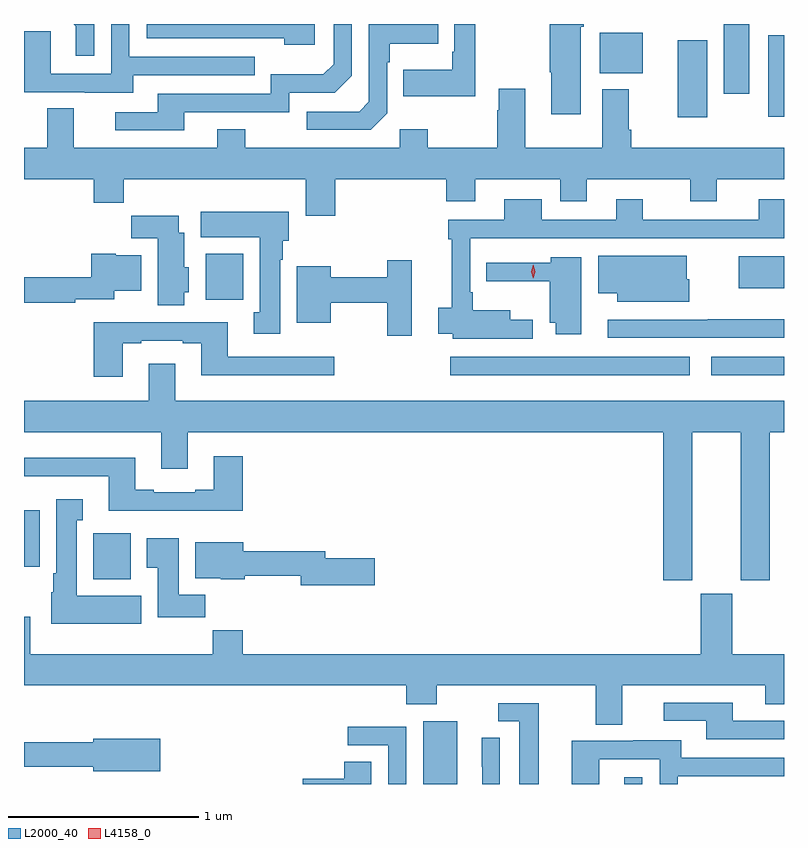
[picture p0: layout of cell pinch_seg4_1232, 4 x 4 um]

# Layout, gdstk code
import gdstk
lib = gdstk.Library(unit=1e-6, precision=1e-09)
def R(c, l, rs):  # rectangles x0, y0, x1, y1
    for r in rs: c.add(gdstk.rectangle(r[:2], r[2:], *l))
def P(c, l, *ps):  # polygons
    for p in ps: c.add(gdstk.Polygon(p, *l))
L2000_40 = (2000, 40)
L4158_0 = (4158, 0)

pinch_seg4_1232 = lib.new_cell('pinch_seg4_1232')
R(pinch_seg4_1232, L2000_40, [(174.647,752.344,174.826,752.674), (175.703,752.344,175.8,752.38), (172.91,753.422,173.107,753.664), (172.545,753.488,172.627,753.784), (174.789,754.496,176.05,754.593), (176.163,754.496,176.545,754.593), (173.501,754.892,173.698,755.134), (176.306,754.952,176.545,755.122), (175.985,755.853,176.14,756.259), (176.462,755.856,176.545,756.286), (176.228,755.976,176.362,756.344), (175.574,756.086,175.801,756.298)])
P(pinch_seg4_1232, L2000_40, [(173.389,755.88),(173.94,755.88),(173.94,755.982),(174.18,755.982),(174.27,756.072),(174.27,756.344),(174.174,756.344),(174.174,756.132),(174.121,756.079),(173.844,756.079),(173.844,755.976),(173.249,755.976),(173.249,755.88),(173.025,755.88),(173.025,755.784),(173.389,755.784)],
  [(175.474,756.33),(175.492,756.33),(175.492,756.344),(175.312,756.344),(175.312,756.091),(175.319,756.091),(175.319,755.868),(175.474,755.868)],
  [(172.914,756.344),(172.806,756.344),(172.817,756.333),(172.817,756.177),(172.914,756.177)],
  [(174.919,756.344),(174.81,756.344),(174.81,756.199),(174.798,756.199),(174.798,756.103),(174.541,756.103),(174.541,755.963),(174.919,755.963)],
  [(174.456,755.874),(174.456,756.143),(174.469,756.143),(174.469,756.239),(174.725,756.239),(174.725,756.344),(174.36,756.344),(174.36,755.934),(174.309,755.883),(174.033,755.883),(174.033,755.787),(174.369,755.787)],
  [(173.119,756.075),(173.759,756.075),(173.759,756.171),(173.1,756.171),(173.1,756.344),(173.004,756.344),(173.004,756.081),(172.686,756.081),(172.686,756.305),(172.545,756.305),(172.545,755.985),(172.865,755.985),(172.865,755.981),(173.119,755.981)],
  [(174.076,756.344),(173.19,756.344),(173.19,756.27),(173.915,756.27),(173.915,756.236),(174.076,756.236)],
  [(174.182,755.528),(174.767,755.528),(174.767,755.411),(174.919,755.411),(174.919,755.528),(175.367,755.528),(175.367,755.411),(175.507,755.411),(175.507,755.528),(176.051,755.528),(176.051,755.411),(176.191,755.411),(176.191,755.528),(176.545,755.528),(176.545,755.692),(175.742,755.692),(175.742,755.788),(175.729,755.788),(175.729,756.001),(175.589,756.001),(175.589,755.692),(175.183,755.692),(175.183,756.004),(175.043,756.004),(175.043,755.891),(175.036,755.891),(175.036,755.692),(174.669,755.692),(174.669,755.791),(174.522,755.791),(174.522,755.692),(173.709,755.692),(173.709,755.791),(173.561,755.791),(173.561,755.692),(172.807,755.692),(172.807,755.9),(172.667,755.9),(172.667,755.692),(172.545,755.692),(172.545,755.528),(172.913,755.528),(172.913,755.404),(173.069,755.404),(173.069,755.528),(174.029,755.528),(174.029,755.334),(174.182,755.334)],
  [(175.222,754.787),(175.105,754.787),(175.105,754.837),(174.907,754.837),(174.907,754.933),(174.894,754.933),(174.894,755.217),(176.545,755.217),(176.545,755.422),(176.411,755.422),(176.411,755.313),(175.801,755.313),(175.801,755.422),(175.661,755.422),(175.661,755.313),(175.27,755.313),(175.27,755.422),(175.073,755.422),(175.073,755.313),(174.778,755.313),(174.778,755.21),(174.797,755.21),(174.797,754.85),(174.725,754.85),(174.725,754.715),(174.801,754.715),(174.801,754.688),(175.222,754.688)],
  [(173.893,755.102),(173.908,755.102),(173.908,755.202),(173.938,755.202),(173.938,755.356),(173.474,755.356),(173.474,755.222),(173.786,755.222),(173.786,754.826),(173.753,754.826),(173.753,754.713),(173.893,754.713)],
  [(173.389,754.932),(173.413,754.932),(173.413,755.064),(173.389,755.064),(173.389,755.245),(173.359,755.245),(173.359,755.335),(173.11,755.335),(173.11,755.216),(173.249,755.216),(173.249,754.865),(173.389,754.865)],
  [(172.814,754.896),(173.02,754.896),(173.02,754.94),(173.161,754.94),(173.161,755.128),(173.028,755.128),(173.028,755.134),(172.898,755.134),(172.898,755.012),(172.545,755.012),(172.545,754.876),(172.814,754.876)],
  [(176.047,755.001),(176.032,755.001),(176.032,755.125),(175.568,755.125),(175.568,754.928),(175.667,754.928),(175.667,754.883),(176.047,754.883)],
  [(175.477,755.116),(175.317,755.116),(175.317,755.088),(174.979,755.088),(174.979,754.991),(175.313,754.991),(175.313,754.772),(175.343,754.772),(175.343,754.71),(175.477,754.71)],
  [(174.586,755.101),(174.457,755.101),(174.457,755.012),(174.16,755.012),(174.16,755.068),(173.981,755.068),(173.981,754.772),(174.16,754.772),(174.16,754.876),(174.457,754.876),(174.457,754.704),(174.586,754.704)],
  [(176.545,754.789),(176.143,754.789),(176.143,754.788),(175.617,754.788),(175.617,754.692),(176.545,754.692)],
  [(173.065,754.665),(173.161,754.665),(173.161,754.677),(173.381,754.677),(173.381,754.665),(173.477,754.665),(173.477,754.496),(174.178,754.496),(174.178,754.593),(173.617,754.593),(173.617,754.773),(172.913,754.773),(172.913,754.488),(173.065,754.488)],
  [(176.062,754.196),(176.318,754.196),(176.318,753.417),(176.471,753.417),(176.471,754.196),(176.545,754.196),(176.545,754.36),(173.341,754.36),(173.341,754.555),(173.201,754.555),(173.201,754.36),(172.545,754.36),(172.545,754.196),(173.267,754.196),(173.267,754.002),(173.407,754.002),(173.407,754.196),(175.91,754.196),(175.91,753.417),(176.062,753.417)],
  [(173.696,754.069),(173.543,754.069),(173.543,753.892),(173.447,753.892),(173.447,753.879),(173.227,753.879),(173.227,753.892),(173.131,753.892),(173.131,754.06),(172.545,754.06),(172.545,753.963),(172.991,753.963),(172.991,753.782),(173.696,753.782)],
  [(173.161,753.334),(172.822,753.334),(172.822,753.731),(172.855,753.731),(172.855,753.844),(172.715,753.844),(172.715,753.454),(172.7,753.454),(172.7,753.354),(172.688,753.354),(172.688,753.188),(173.161,753.188)],
  [(173.498,753.34),(173.359,753.34),(173.359,753.637),(173.192,753.637),(173.192,753.481),(173.249,753.481),(173.249,753.222),(173.498,753.222)],
  [(174.391,753.533),(174.13,753.533),(174.13,753.569),(173.698,753.569),(173.698,753.616),(173.447,753.616),(173.447,753.428),(173.58,753.428),(173.58,753.422),(173.706,753.422),(173.706,753.441),(174.002,753.441),(174.002,753.391),(174.391,753.391)],
  [(175.693,752.864),(176.447,752.864),(176.447,752.765),(176.545,752.765),(176.545,753.028),(176.272,753.028),(176.272,753.345),(176.108,753.345),(176.108,753.028),(173.696,753.028),(173.696,753.152),(173.539,753.152),(173.539,753.028),(172.579,753.028),(172.579,753.223),(172.545,753.223),(172.545,752.864),(174.557,752.864),(174.557,752.765),(174.717,752.765),(174.717,752.864),(175.553,752.864),(175.553,752.656),(175.693,752.656)],
  [(176.545,752.676),(176.275,752.676),(176.275,752.772),(175.911,752.772),(175.911,752.676),(176.135,752.676),(176.135,752.58),(176.545,752.58)],
  [(175.255,752.769),(175.041,752.769),(175.041,752.673),(175.151,752.673),(175.151,752.344),(175.255,752.344)],
  [(174.558,752.646),(174.249,752.646),(174.249,752.547),(174.462,752.547),(174.462,752.344),(174.558,752.344)],
  [(175.05,752.588),(174.954,752.588),(174.954,752.434),(174.956,752.434),(174.956,752.344),(175.05,752.344)],
  [(173.263,752.581),(172.91,752.581),(172.91,752.563),(172.545,752.563),(172.545,752.434),(172.91,752.434),(172.91,752.411),(173.263,752.411)],
  [(175.572,752.475),(175.89,752.475),(175.89,752.344),(175.986,752.344),(175.986,752.385),(176.545,752.385),(176.545,752.481),(176.005,752.481),(176.005,752.575),(175.751,752.575),(175.751,752.571),(175.427,752.571),(175.427,752.344),(175.572,752.344)],
  [(174.373,752.462),(174.23,752.462),(174.23,752.372),(174.012,752.372),(174.012,752.344),(174.373,752.344)])
P(pinch_seg4_1232, L4158_0, [(175.225,755.005),(175.216,755.041),(175.225,755.076),(175.226,755.077),(175.226,755.076),(175.235,755.041),(175.226,755.005),(175.226,755.005)])

lib.write_gds('pinch_seg4_1232.gds')
